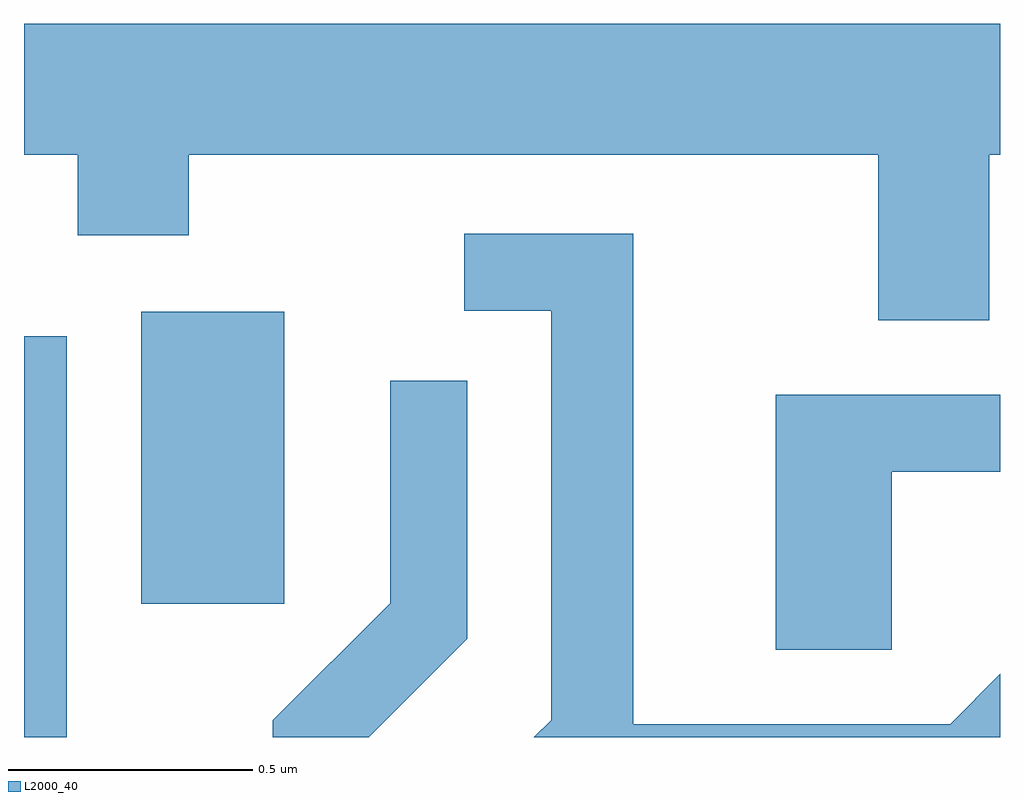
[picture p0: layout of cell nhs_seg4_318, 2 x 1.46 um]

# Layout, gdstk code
import gdstk
lib = gdstk.Library(unit=1e-6, precision=1e-09)
def R(c, l, rs):  # rectangles x0, y0, x1, y1
    for r in rs: c.add(gdstk.rectangle(r[:2], r[2:], *l))
def P(c, l, *ps):  # polygons
    for p in ps: c.add(gdstk.Polygon(p, *l))
L2000_40 = (2000, 40)

nhs_seg4_318 = lib.new_cell('nhs_seg4_318')
R(nhs_seg4_318, L2000_40, [(187.611,1297.982,187.699,1298.804), (187.851,1298.256,188.144,1298.854)])
P(nhs_seg4_318, L2000_40, [(189.589,1299.176),(189.611,1299.176),(189.611,1299.444),(187.611,1299.444),(187.611,1299.176),(187.721,1299.176),(187.721,1299.011),(187.949,1299.011),(187.949,1299.176),(189.361,1299.176),(189.361,1298.836),(189.589,1298.836)],
  [(189.611,1298.112),(189.509,1298.009),(188.859,1298.009),(188.859,1299.014),(188.513,1299.014),(188.513,1298.856),(188.691,1298.856),(188.691,1298.017),(188.656,1297.982),(189.611,1297.982)],
  [(188.519,1298.184),(188.519,1298.713),(188.361,1298.713),(188.361,1298.257),(188.121,1298.017),(188.121,1297.982),(188.317,1297.982)],
  [(189.389,1298.526),(189.611,1298.526),(189.611,1298.684),(189.151,1298.684),(189.151,1298.161),(189.389,1298.161)])

lib.write_gds('nhs_seg4_318.gds')
